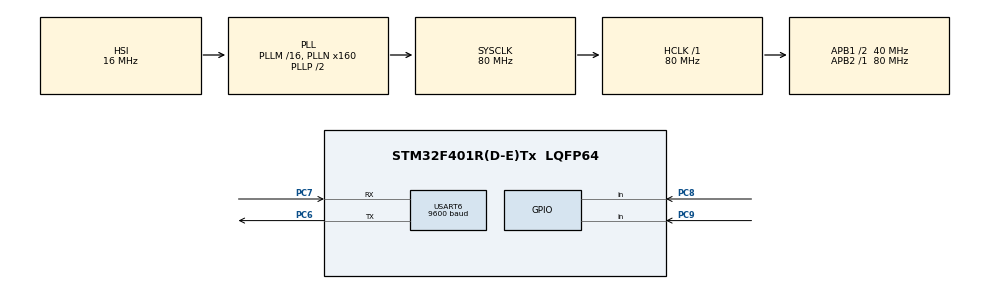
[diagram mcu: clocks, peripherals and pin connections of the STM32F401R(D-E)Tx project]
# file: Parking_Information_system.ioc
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Mcu.Family=STM32F4
Mcu.Name=STM32F401R(D-E)Tx
Mcu.Package=LQFP64
NVIC.PriorityGroup=NVIC_PRIORITYGROUP_4
NVIC.USART6_IRQn=true\:0\:0\:false\:false\:true\:true\:true\:true
PC14-OSC32_IN.Mode=LSE-External-Oscillator
PC14-OSC32_IN.Signal=RCC_OSC32_IN
PC15-OSC32_OUT.Mode=LSE-External-Oscillator
PC15-OSC32_OUT.Signal=RCC_OSC32_OUT
PC6.Mode=Asynchronous
PC6.Signal=USART6_TX
PC7.Mode=Asynchronous
PC7.Signal=USART6_RX
PC8.GPIO_PuPd=GPIO_PULLUP
PC8.Signal=GPIO_Input
PC9.GPIO_PuPd=GPIO_PULLUP
PC9.Signal=GPIO_Input
ProjectManager.HeapSize=0x200
ProjectManager.StackSize=0x400
ProjectManager.TargetToolchain=STM32CubeIDE
RCC.48MHZClocksFreq_Value=40000000
RCC.AHBFreq_Value=80000000
RCC.APB1CLKDivider=RCC_HCLK_DIV2
RCC.APB1Freq_Value=40000000
RCC.APB1TimFreq_Value=80000000
RCC.APB2Freq_Value=80000000
RCC.APB2TimFreq_Value=80000000
RCC.CortexFreq_Value=80000000
RCC.HCLKFreq_Value=80000000
RCC.HSE_VALUE=25000000
RCC.HSI_VALUE=16000000
RCC.PLLN=160
RCC.RCC_RTC_Clock_Source=RCC_RTCCLKSOURCE_LSE
RCC.SYSCLKFreq_VALUE=80000000
RCC.SYSCLKSource=RCC_SYSCLKSOURCE_PLLCLK
RCC.VCOOutputFreq_Value=160000000
USART6.BaudRate=9600
USART6.VirtualMode=VM_ASYNC
VP_RTC_VS_RTC_Activate.Mode=RTC_Enabled
board=custom

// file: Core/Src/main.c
/* USER CODE BEGIN Header */
/**
  ******************************************************************************
  * @file           : main.c
  * @brief          : Main program body
  ******************************************************************************
  * @attention
  *
  * Copyright (c) 2025 STMicroelectronics.
  * All rights reserved.
  *
  * This software is licensed under terms that can be found in the LICENSE file
  * in the root directory of this software component.
  * If no LICENSE file comes with this software, it is provided AS-IS.
  *
  ******************************************************************************
  */
/* USER CODE END Header */
#include "main.h"

/* USER CODE BEGIN Includes */
#include <stdlib.h>
#include <string.h>

/* USER CODE END Includes */

RTC_HandleTypeDef hrtc;

UART_HandleTypeDef huart6;

void SystemClock_Config(void);
static void MX_GPIO_Init(void);
static void MX_USART6_UART_Init(void);
static void MX_RTC_Init(void);

/* USER CODE BEGIN 0 */
uint16_t data = 0;  // your counter variable
uint16_t CAR = 0;
char lcdtx[64];    // buffer for transmit
char RxData6[20];
#define DEBOUNCE_DELAY   100// milliseconds
uint8_t flag = 0;       // set when new message received
uint16_t MAX_FULL = 0;   // for |SETFULL|=#

void check_inputs(void)
{
    static uint32_t last_inc_time = 0;
    static uint32_t last_dec_time = 0;
    static uint8_t inc_flag = 0;
    static uint8_t dec_flag = 0;

    GPIO_PinState inc_pin = HAL_GPIO_ReadPin(GPIOC, GPIO_PIN_9);
    GPIO_PinState dec_pin = HAL_GPIO_ReadPin(GPIOC, GPIO_PIN_8);
    uint32_t now = HAL_GetTick();

    // --- Increment on PC9 press ---
    if (inc_pin == GPIO_PIN_RESET) // active low button
    {
        if (!inc_flag && (now - last_inc_time) > DEBOUNCE_DELAY)
        {
            data++;
            inc_flag = 1; // mark as pressed
            last_inc_time = now;
            HAL_Delay(100);
        }
    }
    else
    {
        // button released
        inc_flag = 0;
    }

    // --- Decrement on PC8 press ---
    if (dec_pin == GPIO_PIN_RESET) // active low button
    {
        if (!dec_flag && (now - last_dec_time) > DEBOUNCE_DELAY)
        {
            if (data > 0) data--;
            dec_flag = 1; // mark as pressed
            last_dec_time = now;
            HAL_Delay(100);
        }
    }
    else
    {
        // button released
        dec_flag = 0;
    }
}

//void process_uart_data(void)
//{
//    if (flag)   // process only when flag is set
//    {
//        flag = 0; // clear flag after processing
//
//        // Expected format: |SET|=#0001|
//        char *ptr = strstr(RxData6, "|SET|=#");
//        if (ptr != NULL)
//        {
//            ptr += 7; // move pointer to start of digits
//
//            // Check if next 4 chars are digits and followed by '|'
//            if (isdigit(ptr[0]) && isdigit(ptr[1]) &&
//                isdigit(ptr[2]) && isdigit(ptr[3]) && ptr[4] == '|')
//            {
//                char num_str[5] = {0}; // buffer for "0001" + null
//                strncpy(num_str, ptr, 4);
//
//                data = (uint16_t)atoi(num_str); // convert to integer
//
//                // ✅ "data" now has a valid value (0001–9999)
//            }
//            else
//            {
////                // Invalid message format
////                data = 0;
//            }
//        }
//    }
//}

void process_uart_data(void)
{
    if (flag)   // only process if flag set
    {
        flag = 0; // clear after processing

        // --- Case 1: |SET|=#0001|
        char *ptr = strstr(RxData6, "|SET|=#");
        if (ptr != NULL)
        {
            ptr += 7; // move to digits

            if (isdigit(ptr[0]) && isdigit(ptr[1]) &&
                isdigit(ptr[2]) && isdigit(ptr[3]) && ptr[4] == '|')
            {
                char num_str[5] = {0};
                strncpy(num_str, ptr, 4);
                data = (uint16_t)atoi(num_str);
            }
            return; // processed successfully
        }

        // --- Case 2: |SETFULL|=#0100|
        ptr = strstr(RxData6, "|SETFULL|=#");
        if (ptr != NULL)
        {
            ptr += 11; // move to digits (after "|SETFULL|=#")

            if (isdigit(ptr[0]) && isdigit(ptr[1]) &&
                isdigit(ptr[2]) && isdigit(ptr[3]) && ptr[4] == '|')
            {
                char num_str[5] = {0};
                strncpy(num_str, ptr, 4);
                MAX_FULL = (uint16_t)atoi(num_str);
                HAL_RTCEx_BKUPWrite(&hrtc, RTC_BKP_DR1, MAX_FULL);
            }
            return; // processed successfully
        }
    }
}
/* USER CODE END 0 */

int main(void)
{

  /* MCU Configuration--------------------------------------------------------*/

  /* Reset of all peripherals, Initializes the Flash interface and the Systick. */
  HAL_Init();

  /* Configure the system clock */
  SystemClock_Config();

  /* Initialize all configured peripherals */
  MX_GPIO_Init();
  MX_USART6_UART_Init();
  MX_RTC_Init();
  /* USER CODE BEGIN 2 */
//  HAL_RTCEx_BKUPWrite(&hrtc, RTC_BKP_DR0, 0x10);
	   CAR = HAL_RTCEx_BKUPRead(&hrtc, RTC_BKP_DR0);
	   data=CAR;
	   MAX_FULL= HAL_RTCEx_BKUPRead(&hrtc, RTC_BKP_DR1);
	   HAL_Delay(1000);
	   HAL_Delay(1000);
	   HAL_Delay(1000);
	   sprintf(lcdtx, "|C|1|6|");
	   HAL_UART_Transmit(&huart6, (uint8_t*)lcdtx, strlen(lcdtx),3000);
	   HAL_Delay(1000);
	   HAL_Delay(1000);
	  if(CAR>=MAX_FULL)
	  {
		  sprintf(lcdtx, "|C|1|4|1|10-0-#RF U L L|");
	  }
	  else if (MAX_FULL- CAR < 10)
	   {
		   sprintf(lcdtx, "|C|1|4|1|42-0-#G%u|",MAX_FULL- CAR);
	   }
	  else if (MAX_FULL- CAR < 100)  // two digits (00–99)
	  {
		  sprintf(lcdtx, "|C|1|4|1|37-0-#G%u|", MAX_FULL- CAR);
	  }
	  else if(MAX_FULL- CAR < 9999) // three digits (100–999)
	  {
		  sprintf(lcdtx, "|C|1|4|1|33-0-#G%u|", MAX_FULL- CAR);
	  }
	  HAL_Delay(1000);
   HAL_UART_Transmit(&huart6, (uint8_t*)lcdtx, strlen(lcdtx),3000);
   HAL_UARTEx_ReceiveToIdle_IT(&huart6,RxData6,20);
  /* USER CODE END 2 */

  /* Infinite loop */
  while (1)
  {

    /* USER CODE BEGIN 3 */
	  process_uart_data();
	  check_inputs();
	  if(CAR!=data)
	  {
		  CAR=data;
		  if (CAR>MAX_FULL)
		  {
			  CAR=MAX_FULL;
			  data=MAX_FULL;
		  }
		  HAL_RTCEx_BKUPWrite(&hrtc, RTC_BKP_DR0, CAR);
		  sprintf(lcdtx, "|C|1|6|");
		  HAL_UART_Transmit(&huart6, (uint8_t*)lcdtx, strlen(lcdtx), 3000);
		  if(CAR>=MAX_FULL)
		  {
			  sprintf(lcdtx, "|C|1|4|1|10-0-#RF U L L|");
		  }
		  else if (MAX_FULL- CAR < 10)
		   {
			   sprintf(lcdtx, "|C|1|4|1|42-0-#G%u|",MAX_FULL- CAR);
		   }
		  else if (MAX_FULL- CAR < 100)  // two digits (00–99)
		  {
		      sprintf(lcdtx, "|C|1|4|1|37-0-#G%u|", MAX_FULL- CAR);
		  }
		  else if(MAX_FULL- CAR < 9999) // three digits (100–999)
		  {
		      sprintf(lcdtx, "|C|1|4|1|33-0-#G%u|", MAX_FULL- CAR);
		  }
		  HAL_Delay(300);
		  // Transmit second message
		  HAL_UART_Transmit(&huart6, (uint8_t*)lcdtx, strlen(lcdtx), 3000);
//		  // Format your string into ASCII text
//		      sprintf(lcdtx, "|C|1|4|1|40-0-#%u|", CAR);
//
//		      // Send asynchronously (non-blocking)
//		      HAL_UART_Transmit_IT(&huart6, (uint8_t*)lcdtx, strlen(lcdtx));
	  }
  }
  /* USER CODE END 3 */
}

void SystemClock_Config(void)
{
  RCC_OscInitTypeDef RCC_OscInitStruct = {0};
  RCC_ClkInitTypeDef RCC_ClkInitStruct = {0};

  /** Configure the main internal regulator output voltage
  */
  __HAL_RCC_PWR_CLK_ENABLE();
  __HAL_PWR_VOLTAGESCALING_CONFIG(PWR_REGULATOR_VOLTAGE_SCALE2);

  /** Initializes the RCC Oscillators according to the specified parameters
  * in the RCC_OscInitTypeDef structure.
  */
  RCC_OscInitStruct.OscillatorType = RCC_OSCILLATORTYPE_HSI|RCC_OSCILLATORTYPE_LSE;
  RCC_OscInitStruct.LSEState = RCC_LSE_ON;
  RCC_OscInitStruct.HSIState = RCC_HSI_ON;
  RCC_OscInitStruct.HSICalibrationValue = RCC_HSICALIBRATION_DEFAULT;
  RCC_OscInitStruct.PLL.PLLState = RCC_PLL_ON;
  RCC_OscInitStruct.PLL.PLLSource = RCC_PLLSOURCE_HSI;
  RCC_OscInitStruct.PLL.PLLM = 16;
  RCC_OscInitStruct.PLL.PLLN = 160;
  RCC_OscInitStruct.PLL.PLLP = RCC_PLLP_DIV2;
  RCC_OscInitStruct.PLL.PLLQ = 4;
  if (HAL_RCC_OscConfig(&RCC_OscInitStruct) != HAL_OK)
  {
    Error_Handler();
  }

  /** Initializes the CPU, AHB and APB buses clocks
  */
  RCC_ClkInitStruct.ClockType = RCC_CLOCKTYPE_HCLK|RCC_CLOCKTYPE_SYSCLK
                              |RCC_CLOCKTYPE_PCLK1|RCC_CLOCKTYPE_PCLK2;
  RCC_ClkInitStruct.SYSCLKSource = RCC_SYSCLKSOURCE_PLLCLK;
  RCC_ClkInitStruct.AHBCLKDivider = RCC_SYSCLK_DIV1;
  RCC_ClkInitStruct.APB1CLKDivider = RCC_HCLK_DIV2;
  RCC_ClkInitStruct.APB2CLKDivider = RCC_HCLK_DIV1;

  if (HAL_RCC_ClockConfig(&RCC_ClkInitStruct, FLASH_LATENCY_2) != HAL_OK)
  {
    Error_Handler();
  }
}

static void MX_RTC_Init(void)
{

  /** Initialize RTC Only
  */
  hrtc.Instance = RTC;
  hrtc.Init.HourFormat = RTC_HOURFORMAT_24;
  hrtc.Init.AsynchPrediv = 127;
  hrtc.Init.SynchPrediv = 255;
  hrtc.Init.OutPut = RTC_OUTPUT_DISABLE;
  hrtc.Init.OutPutPolarity = RTC_OUTPUT_POLARITY_HIGH;
  hrtc.Init.OutPutType = RTC_OUTPUT_TYPE_OPENDRAIN;
  if (HAL_RTC_Init(&hrtc) != HAL_OK)
  {
    Error_Handler();
  }

}

static void MX_USART6_UART_Init(void)
{

  huart6.Instance = USART6;
  huart6.Init.BaudRate = 9600;
  huart6.Init.WordLength = UART_WORDLENGTH_8B;
  huart6.Init.StopBits = UART_STOPBITS_1;
  huart6.Init.Parity = UART_PARITY_NONE;
  huart6.Init.Mode = UART_MODE_TX_RX;
  huart6.Init.HwFlowCtl = UART_HWCONTROL_NONE;
  huart6.Init.OverSampling = UART_OVERSAMPLING_16;
  if (HAL_UART_Init(&huart6) != HAL_OK)
  {
    Error_Handler();
  }

}

static void MX_GPIO_Init(void)
{
  GPIO_InitTypeDef GPIO_InitStruct = {0};

  /* GPIO Ports Clock Enable */
  __HAL_RCC_GPIOC_CLK_ENABLE();

  /*Configure GPIO pins : PC8 PC9 */
  GPIO_InitStruct.Pin = GPIO_PIN_8|GPIO_PIN_9;
  GPIO_InitStruct.Mode = GPIO_MODE_INPUT;
  GPIO_InitStruct.Pull = GPIO_PULLUP;
  HAL_GPIO_Init(GPIOC, &GPIO_InitStruct);

}

/* USER CODE BEGIN 4 */
//void HAL_UART_RxCpltCallback(UART_HandleTypeDef *huart)
void HAL_UARTEx_RxEventCallback(UART_HandleTypeDef *huart, uint16_t Size)
{
    if(huart->Instance==USART6)
   	{
    	flag=1;
    	HAL_UARTEx_ReceiveToIdle_IT(&huart6,RxData6,20);
//    	HAL_UART_Receive_IT(&huart1, RxData6, 200);

   	}
}
/* USER CODE END 4 */

void Error_Handler(void)
{
  __disable_irq();
  while (1)
  {
  }
}
